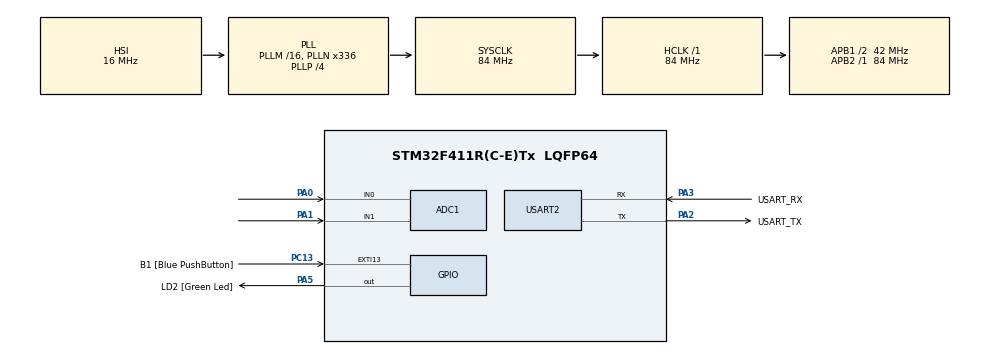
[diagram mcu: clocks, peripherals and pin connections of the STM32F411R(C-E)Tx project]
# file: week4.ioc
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ADC1.Channel-0\#ChannelRegularConversion=ADC_CHANNEL_0
ADC1.Channel-1\#ChannelRegularConversion=ADC_CHANNEL_1
ADC1.Channel-2\#ChannelRegularConversion=ADC_CHANNEL_TEMPSENSOR
ADC1.Channel-3\#ChannelRegularConversion=ADC_CHANNEL_VREFINT
ADC1.ContinuousConvMode=ENABLE
ADC1.DMAContinuousRequests=ENABLE
ADC1.NbrOfConversion=4
ADC1.NbrOfConversionFlag=1
ADC1.Rank-0\#ChannelRegularConversion=1
ADC1.Rank-1\#ChannelRegularConversion=2
ADC1.Rank-2\#ChannelRegularConversion=3
ADC1.Rank-3\#ChannelRegularConversion=4
ADC1.SamplingTime-0\#ChannelRegularConversion=ADC_SAMPLETIME_480CYCLES
ADC1.SamplingTime-1\#ChannelRegularConversion=ADC_SAMPLETIME_480CYCLES
ADC1.SamplingTime-2\#ChannelRegularConversion=ADC_SAMPLETIME_480CYCLES
ADC1.SamplingTime-3\#ChannelRegularConversion=ADC_SAMPLETIME_480CYCLES
ADC1.master=1
Dma.ADC1.0.Direction=DMA_PERIPH_TO_MEMORY
Dma.ADC1.0.FIFOMode=DMA_FIFOMODE_DISABLE
Dma.ADC1.0.Instance=DMA2_Stream0
Dma.ADC1.0.MemDataAlignment=DMA_MDATAALIGN_WORD
Dma.ADC1.0.MemInc=DMA_MINC_ENABLE
Dma.ADC1.0.Mode=DMA_CIRCULAR
Dma.ADC1.0.PeriphDataAlignment=DMA_PDATAALIGN_WORD
Dma.ADC1.0.PeriphInc=DMA_PINC_DISABLE
Dma.ADC1.0.Priority=DMA_PRIORITY_LOW
Dma.Request0=ADC1
Mcu.Family=STM32F4
Mcu.Name=STM32F411R(C-E)Tx
Mcu.Package=LQFP64
NVIC.DMA2_Stream0_IRQn=true\:0\:0\:false\:false\:true\:false\:true
NVIC.EXTI15_10_IRQn=true\:0\:0\:false\:false\:true\:true\:true
NVIC.PriorityGroup=NVIC_PRIORITYGROUP_0
PA0-WKUP.Signal=ADCx_IN0
PA1.Signal=ADCx_IN1
PA13.GPIO_Label=TMS
PA13.Mode=Serial_Wire
PA13.Signal=SYS_JTMS-SWDIO
PA14.GPIO_Label=TCK
PA14.Mode=Serial_Wire
PA14.Signal=SYS_JTCK-SWCLK
PA2.GPIO_Label=USART_TX
PA2.Mode=Asynchronous
PA2.Signal=USART2_TX
PA3.GPIO_Label=USART_RX
PA3.Mode=Asynchronous
PA3.Signal=USART2_RX
PA5.GPIO_Label=LD2 [Green Led]
PA5.Signal=GPIO_Output
PB3.GPIO_Label=SWO
PB3.Signal=SYS_JTDO-SWO
PC13-ANTI_TAMP.GPIO_Label=B1 [Blue PushButton]
PC13-ANTI_TAMP.GPIO_ModeDefaultEXTI=GPIO_MODE_IT_FALLING
PC13-ANTI_TAMP.GPIO_PuPd=GPIO_PULLUP
PC13-ANTI_TAMP.Signal=GPXTI13
PC14-OSC32_IN.Mode=LSE-External-Oscillator
PC14-OSC32_IN.Signal=RCC_OSC32_IN
PC15-OSC32_OUT.Mode=LSE-External-Oscillator
PC15-OSC32_OUT.Signal=RCC_OSC32_OUT
PH0\ -\ OSC_IN.Mode=HSE-External-Clock-Source
PH0\ -\ OSC_IN.Signal=RCC_OSC_IN
PH1\ -\ OSC_OUT.Mode=HSE-External-Clock-Source
PH1\ -\ OSC_OUT.Signal=RCC_OSC_OUT
ProjectManager.HeapSize=0x200
ProjectManager.StackSize=0x400
ProjectManager.TargetToolchain=STM32CubeIDE
RCC.48MHZClocksFreq_Value=84000000
RCC.AHBFreq_Value=84000000
RCC.APB1CLKDivider=RCC_HCLK_DIV2
RCC.APB1Freq_Value=42000000
RCC.APB1TimFreq_Value=84000000
RCC.APB2Freq_Value=84000000
RCC.APB2TimFreq_Value=84000000
RCC.CortexFreq_Value=84000000
RCC.FLatency-AdvancedSettings=FLASH_LATENCY_2
RCC.HCLKFreq_Value=84000000
RCC.HSE_VALUE=8000000
RCC.HSI_VALUE=16000000
RCC.PLLN=336
RCC.PLLP=RCC_PLLP_DIV4
RCC.SYSCLKFreq_VALUE=84000000
RCC.SYSCLKSource=RCC_SYSCLKSOURCE_PLLCLK
RCC.VCOOutputFreq_Value=336000000
SH.ADCx_IN0.0=ADC1_IN0,IN0
SH.ADCx_IN1.0=ADC1_IN1,IN1
USART2.VirtualMode=VM_ASYNC
VP_ADC1_TempSens_Input.Mode=IN-TempSens
VP_ADC1_Vref_Input.Mode=IN-Vrefint
board=NUCLEO-F411RE

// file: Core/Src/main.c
/* USER CODE BEGIN Header */
/**
  ******************************************************************************
  * @file           : main.c
  * @brief          : Main program body
  ******************************************************************************
  * @attention
  *
  * <h2><center>&copy; Copyright (c) 2021 STMicroelectronics.
  * All rights reserved.</center></h2>
  *
  * This software component is licensed by ST under BSD 3-Clause license,
  * the "License"; You may not use this file except in compliance with the
  * License. You may obtain a copy of the License at:
  *                        opensource.org/licenses/BSD-3-Clause
  *
  ******************************************************************************
  */
/* USER CODE END Header */
#include "main.h"

ADC_HandleTypeDef hadc1;
DMA_HandleTypeDef hdma_adc1;

UART_HandleTypeDef huart2;

/* USER CODE BEGIN PV */
uint32_t ADCData[4]={0};
uint32_t Switch[2]={0};
uint32_t TimeStamp=0;
uint32_t a=0;
uint32_t Time = 0;
uint32_t TimeRespond = 0;
uint32_t TTT=0;
int count=0;
/* USER CODE END PV */

void SystemClock_Config(void);
static void MX_GPIO_Init(void);
static void MX_DMA_Init(void);
static void MX_USART2_UART_Init(void);
static void MX_ADC1_Init(void);
/* USER CODE BEGIN PFP */
void Respond();

/* USER CODE END PFP */

int main(void)
{

  /* MCU Configuration--------------------------------------------------------*/

  /* Reset of all peripherals, Initializes the Flash interface and the Systick. */

	HAL_Init();

  /* Configure the system clock */
  SystemClock_Config();

  /* Initialize all configured peripherals */
  MX_GPIO_Init();
  MX_DMA_Init();
  MX_USART2_UART_Init();
  MX_ADC1_Init();
  /* USER CODE BEGIN 2 */
  HAL_ADC_Start_DMA(&hadc1, ADCData, 4);
  HAL_GPIO_WritePin(GPIOA, GPIO_PIN_5, GPIO_PIN_SET);
  /* USER CODE END 2 */

  /* Infinite loop */
  while (1)
  {

    /* USER CODE BEGIN 3 */
	Respond();

  }
  /* USER CODE END 3 */
}

void SystemClock_Config(void)
{
  RCC_OscInitTypeDef RCC_OscInitStruct = {0};
  RCC_ClkInitTypeDef RCC_ClkInitStruct = {0};

  /** Configure the main internal regulator output voltage
  */
  __HAL_RCC_PWR_CLK_ENABLE();
  __HAL_PWR_VOLTAGESCALING_CONFIG(PWR_REGULATOR_VOLTAGE_SCALE1);
  /** Initializes the RCC Oscillators according to the specified parameters
  * in the RCC_OscInitTypeDef structure.
  */
  RCC_OscInitStruct.OscillatorType = RCC_OSCILLATORTYPE_HSI;
  RCC_OscInitStruct.HSIState = RCC_HSI_ON;
  RCC_OscInitStruct.HSICalibrationValue = RCC_HSICALIBRATION_DEFAULT;
  RCC_OscInitStruct.PLL.PLLState = RCC_PLL_ON;
  RCC_OscInitStruct.PLL.PLLSource = RCC_PLLSOURCE_HSI;
  RCC_OscInitStruct.PLL.PLLM = 16;
  RCC_OscInitStruct.PLL.PLLN = 336;
  RCC_OscInitStruct.PLL.PLLP = RCC_PLLP_DIV4;
  RCC_OscInitStruct.PLL.PLLQ = 4;
  if (HAL_RCC_OscConfig(&RCC_OscInitStruct) != HAL_OK)
  {
    Error_Handler();
  }
  /** Initializes the CPU, AHB and APB buses clocks
  */
  RCC_ClkInitStruct.ClockType = RCC_CLOCKTYPE_HCLK|RCC_CLOCKTYPE_SYSCLK
                              |RCC_CLOCKTYPE_PCLK1|RCC_CLOCKTYPE_PCLK2;
  RCC_ClkInitStruct.SYSCLKSource = RCC_SYSCLKSOURCE_PLLCLK;
  RCC_ClkInitStruct.AHBCLKDivider = RCC_SYSCLK_DIV1;
  RCC_ClkInitStruct.APB1CLKDivider = RCC_HCLK_DIV2;
  RCC_ClkInitStruct.APB2CLKDivider = RCC_HCLK_DIV1;

  if (HAL_RCC_ClockConfig(&RCC_ClkInitStruct, FLASH_LATENCY_2) != HAL_OK)
  {
    Error_Handler();
  }
}

static void MX_ADC1_Init(void)
{

  ADC_ChannelConfTypeDef sConfig = {0};

  /** Configure the global features of the ADC (Clock, Resolution, Data Alignment and number of conversion)
  */
  hadc1.Instance = ADC1;
  hadc1.Init.ClockPrescaler = ADC_CLOCK_SYNC_PCLK_DIV4;
  hadc1.Init.Resolution = ADC_RESOLUTION_12B;
  hadc1.Init.ScanConvMode = ENABLE;
  hadc1.Init.ContinuousConvMode = ENABLE;
  hadc1.Init.DiscontinuousConvMode = DISABLE;
  hadc1.Init.ExternalTrigConvEdge = ADC_EXTERNALTRIGCONVEDGE_NONE;
  hadc1.Init.ExternalTrigConv = ADC_SOFTWARE_START;
  hadc1.Init.DataAlign = ADC_DATAALIGN_RIGHT;
  hadc1.Init.NbrOfConversion = 4;
  hadc1.Init.DMAContinuousRequests = ENABLE;
  hadc1.Init.EOCSelection = ADC_EOC_SINGLE_CONV;
  if (HAL_ADC_Init(&hadc1) != HAL_OK)
  {
    Error_Handler();
  }
  /** Configure for the selected ADC regular channel its corresponding rank in the sequencer and its sample time.
  */
  sConfig.Channel = ADC_CHANNEL_0;
  sConfig.Rank = 1;
  sConfig.SamplingTime = ADC_SAMPLETIME_480CYCLES;
  if (HAL_ADC_ConfigChannel(&hadc1, &sConfig) != HAL_OK)
  {
    Error_Handler();
  }
  /** Configure for the selected ADC regular channel its corresponding rank in the sequencer and its sample time.
  */
  sConfig.Channel = ADC_CHANNEL_1;
  sConfig.Rank = 2;
  if (HAL_ADC_ConfigChannel(&hadc1, &sConfig) != HAL_OK)
  {
    Error_Handler();
  }
  /** Configure for the selected ADC regular channel its corresponding rank in the sequencer and its sample time.
  */
  sConfig.Channel = ADC_CHANNEL_TEMPSENSOR;
  sConfig.Rank = 3;
  if (HAL_ADC_ConfigChannel(&hadc1, &sConfig) != HAL_OK)
  {
    Error_Handler();
  }
  /** Configure for the selected ADC regular channel its corresponding rank in the sequencer and its sample time.
  */
  sConfig.Channel = ADC_CHANNEL_VREFINT;
  sConfig.Rank = 4;
  if (HAL_ADC_ConfigChannel(&hadc1, &sConfig) != HAL_OK)
  {
    Error_Handler();
  }

}

static void MX_USART2_UART_Init(void)
{

  huart2.Instance = USART2;
  huart2.Init.BaudRate = 115200;
  huart2.Init.WordLength = UART_WORDLENGTH_8B;
  huart2.Init.StopBits = UART_STOPBITS_1;
  huart2.Init.Parity = UART_PARITY_NONE;
  huart2.Init.Mode = UART_MODE_TX_RX;
  huart2.Init.HwFlowCtl = UART_HWCONTROL_NONE;
  huart2.Init.OverSampling = UART_OVERSAMPLING_16;
  if (HAL_UART_Init(&huart2) != HAL_OK)
  {
    Error_Handler();
  }

}

static void MX_DMA_Init(void)
{

  /* DMA controller clock enable */
  __HAL_RCC_DMA2_CLK_ENABLE();

  /* DMA interrupt init */
  /* DMA2_Stream0_IRQn interrupt configuration */
  HAL_NVIC_SetPriority(DMA2_Stream0_IRQn, 0, 0);
  HAL_NVIC_EnableIRQ(DMA2_Stream0_IRQn);

}

static void MX_GPIO_Init(void)
{
  GPIO_InitTypeDef GPIO_InitStruct = {0};

  /* GPIO Ports Clock Enable */
  __HAL_RCC_GPIOC_CLK_ENABLE();
  __HAL_RCC_GPIOH_CLK_ENABLE();
  __HAL_RCC_GPIOA_CLK_ENABLE();
  __HAL_RCC_GPIOB_CLK_ENABLE();

  /*Configure GPIO pin Output Level */
  HAL_GPIO_WritePin(LD2_GPIO_Port, LD2_Pin, GPIO_PIN_RESET);

  /*Configure GPIO pin : B1_Pin */
  GPIO_InitStruct.Pin = B1_Pin;
  GPIO_InitStruct.Mode = GPIO_MODE_IT_FALLING;
  GPIO_InitStruct.Pull = GPIO_PULLUP;
  HAL_GPIO_Init(B1_GPIO_Port, &GPIO_InitStruct);

  /*Configure GPIO pin : LD2_Pin */
  GPIO_InitStruct.Pin = LD2_Pin;
  GPIO_InitStruct.Mode = GPIO_MODE_OUTPUT_PP;
  GPIO_InitStruct.Pull = GPIO_NOPULL;
  GPIO_InitStruct.Speed = GPIO_SPEED_FREQ_LOW;
  HAL_GPIO_Init(LD2_GPIO_Port, &GPIO_InitStruct);

  /* EXTI interrupt init*/
  HAL_NVIC_SetPriority(EXTI15_10_IRQn, 0, 0);
  HAL_NVIC_EnableIRQ(EXTI15_10_IRQn);

}

/* USER CODE BEGIN 4 */
void HAL_GPIO_EXTI_Callback(uint16_t GPIO_Pin)
{
	if(GPIO_Pin == GPIO_PIN_13)
	{
		TimeStamp = HAL_GetTick();
		HAL_GPIO_WritePin(GPIOA, GPIO_PIN_5, GPIO_PIN_RESET);
		a=1000+((2269547*ADCData[0])-ADCData[1])%10000;
		count++;
//		if(count==2)
//		{
//			TTT = HAL_GetTick();
//			TimeRespond = TTT- Time;
//		}

	}

	}
void Respond(){
	Switch[0] = HAL_GPIO_ReadPin(GPIOC, GPIO_PIN_13);

	if(Switch[0] == GPIO_PIN_RESET && Switch[1] == GPIO_PIN_RESET)
	{
		if(HAL_GetTick()-TimeStamp >= a)
		{
			HAL_GPIO_WritePin(GPIOA, GPIO_PIN_5, GPIO_PIN_SET);
		}
	}
		if((Switch[0]==GPIO_PIN_SET && Switch[1]==GPIO_PIN_RESET)&&(count==1))
		{
//			count++;
			TimeRespond = HAL_GetTick() - TimeStamp-a;
		}
//	if(count==2)
//	{
//		TimeRespond = HAL_GetTick() - Time;
//	}
	Switch[1] = Switch[0];

	}

/* USER CODE END 4 */

void Error_Handler(void)
{
  __disable_irq();
  while (1)
  {
  }
}

/************************ (C) COPYRIGHT STMicroelectronics *****END OF FILE****/
